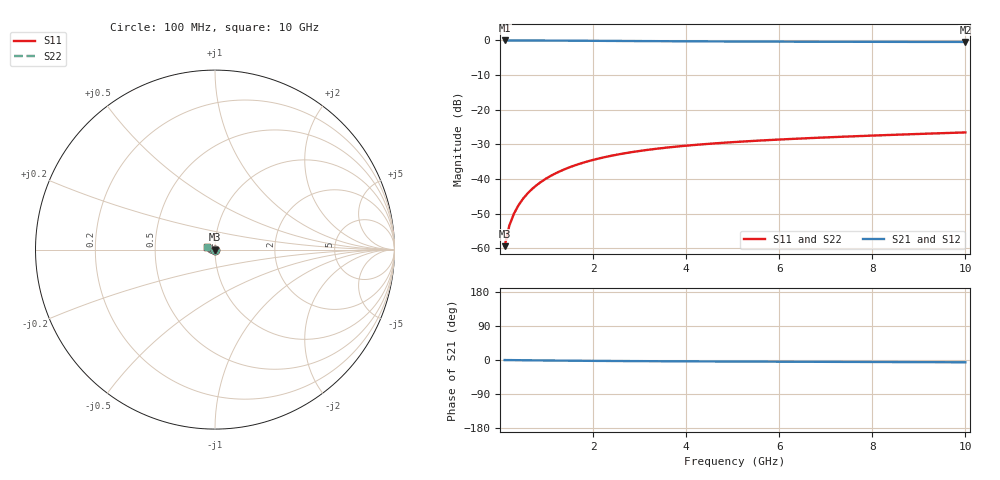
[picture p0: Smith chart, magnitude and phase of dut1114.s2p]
! Touchstone file exported from HFSS 2024.1.0
!  File:  C:/UserFiles/LocalFiles/RDL_TSV_Batchsim/temp_TSV1_1114_1780068472.aedt
!  Generated:  11:34:38 PM May 29, 2026
!  Design:  TSV1
!  Project:  temp_TSV1_1114_1780068472
!  Setup:  Setup1
!  Solution:  Sweep
! Variables:
!  dtsv = 7.99um
!  hbump = 3um
!  htsv = 93.74um
!  lrdl = 252.1521522um
!  p = 40
!  p1 = 51.81um
!  t = 500um
!  trdl = 3um
!  wrdl = 24.89489489um
# GHz S MA R 50.000000
! Terminal data exported
! Port[1] = TSV22_T1
! Port[2] = TSV22_T2
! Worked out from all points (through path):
!   100 points, 100 MHz to 10 GHz, reference 50 ohm
!   highest |S21| = 0.00 dB at 100 MHz (marker M1); lowest = -0.4 dB at 10 GHz (marker M2)
!   lowest |S11| = -59.4 dB at 100 MHz (marker M3), VSWR 1.00, Z = 50 - j0.105 ohm
!   |S11| at or under -10 dB: start of sweep to end of sweep
!   |S22| runs from -59.4 to -26.5 dB; largest |S21 - S12| = 2.1e-15
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0.1  0.001075 -78.5  0.9997 -0.1  0.9997 -0.1  0.001075 -78.5
! Gamma 0 0 0 0
! Port Impedance 50 0 50 0
0.2  0.002116 -86.9  0.9996 -0.3  0.9996 -0.3  0.002116 -86.9
0.3  0.003164 -91.2  0.9994 -0.4  0.9994 -0.4  0.003164 -91.2
0.4  0.004209 -94.3  0.9991 -0.5  0.9991 -0.5  0.004209 -94.3
0.5  0.005245 -96.9  0.9988 -0.6  0.9988 -0.6  0.005245 -96.9
0.6  0.006272 -99.3  0.9984 -0.8  0.9984 -0.8  0.006272 -99.3
0.7  0.007287 -101.6  0.9979 -0.9  0.9979 -0.9  0.007287 -101.6
0.8  0.008288 -103.8  0.9974 -1.0  0.9974 -1.0  0.008288 -103.8
0.9  0.009275 -105.9  0.9969 -1.1  0.9969 -1.1  0.009275 -105.9
1.1  0.0112 -109.9  0.9956 -1.4  0.9956 -1.4  0.0112 -109.9
1.4  0.01394 -115.6  0.9934 -1.7  0.9934 -1.7  0.01394 -115.6
1.6  0.01567 -119.2  0.9917 -1.9  0.9917 -1.9  0.01567 -119.2
1.8  0.01732 -122.7  0.99 -2.1  0.99 -2.1  0.01732 -122.7
2.1  0.01962 -127.8  0.9874 -2.3  0.9874 -2.3  0.01962 -127.8
2.5  0.02239 -134.0  0.9838 -2.7  0.9838 -2.7  0.02239 -134.0
2.9  0.02485 -139.8  0.9803 -2.9  0.9803 -2.9  0.02485 -139.8
3.4  0.02753 -146.5  0.9763 -3.2  0.9763 -3.2  0.02753 -146.5
4.2  0.03112 -155.9  0.9706 -3.7  0.9706 -3.7  0.03112 -155.9
5.1  0.03439 -165.1  0.9655 -4.1  0.9655 -4.1  0.03439 -165.1
6.7  0.03909 -178.5  0.959 -4.7  0.959 -4.7  0.03909 -178.5
8.4  0.04333 170.1  0.9543 -5.4  0.9543 -5.4  0.04333 170.1
10  0.04708 161.2  0.9513 -6.0  0.9513 -6.0  0.04708 161.2
